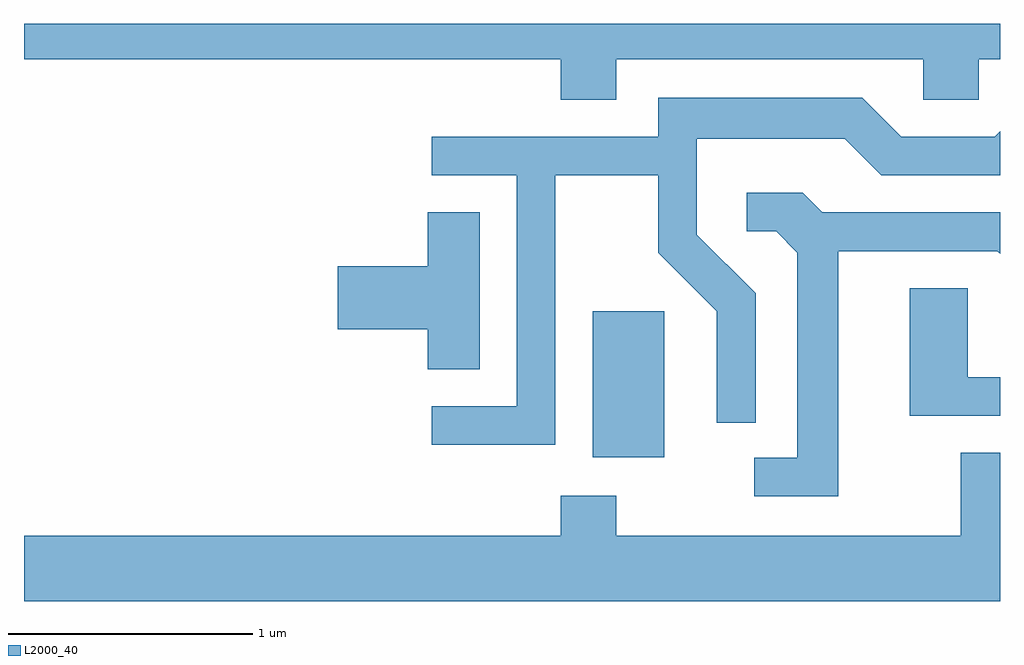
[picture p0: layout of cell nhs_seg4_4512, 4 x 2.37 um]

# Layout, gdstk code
import gdstk
lib = gdstk.Library(unit=1e-6, precision=1e-09)
def R(c, l, rs):  # rectangles x0, y0, x1, y1
    for r in rs: c.add(gdstk.rectangle(r[:2], r[2:], *l))
def P(c, l, *ps):  # polygons
    for p in ps: c.add(gdstk.Polygon(p, *l))
L2000_40 = (2000, 40)

nhs_seg4_4512 = lib.new_cell('nhs_seg4_4512')
R(nhs_seg4_4512, L2000_40, [(319.941,1304.206,320.234,1304.804)])
P(nhs_seg4_4512, L2000_40, [(317.611,1305.836),(319.811,1305.836),(319.811,1305.671),(320.039,1305.671),(320.039,1305.836),(321.296,1305.836),(321.296,1305.671),(321.524,1305.671),(321.524,1305.836),(321.611,1305.836),(321.611,1305.982),(317.611,1305.982)],
  [(319.789,1305.361),(320.211,1305.361),(320.211,1305.044),(320.451,1304.804),(320.451,1304.348),(320.609,1304.348),(320.609,1304.877),(320.369,1305.117),(320.369,1305.511),(320.974,1305.511),(321.124,1305.361),(321.611,1305.361),(321.611,1305.541),(321.589,1305.519),(321.207,1305.519),(321.047,1305.679),(320.211,1305.679),(320.211,1305.519),(319.283,1305.519),(319.283,1305.361),(319.631,1305.361),(319.631,1304.414),(319.283,1304.414),(319.283,1304.256),(319.789,1304.256)],
  [(320.949,1305.051),(321.599,1305.051),(321.611,1305.039),(321.611,1305.209),(320.882,1305.209),(320.802,1305.289),(320.573,1305.289),(320.573,1305.131),(320.694,1305.131),(320.781,1305.044),(320.781,1304.204),(320.603,1304.204),(320.603,1304.046),(320.949,1304.046)],
  [(319.479,1305.209),(319.266,1305.209),(319.266,1304.989),(318.896,1304.989),(318.896,1304.731),(319.266,1304.731),(319.266,1304.566),(319.479,1304.566)],
  [(321.611,1304.534),(321.479,1304.534),(321.479,1304.899),(321.241,1304.899),(321.241,1304.376),(321.611,1304.376)],
  [(321.611,1304.224),(321.451,1304.224),(321.451,1303.884),(320.039,1303.884),(320.039,1304.049),(319.811,1304.049),(319.811,1303.884),(317.611,1303.884),(317.611,1303.616),(321.611,1303.616)])

lib.write_gds('nhs_seg4_4512.gds')
